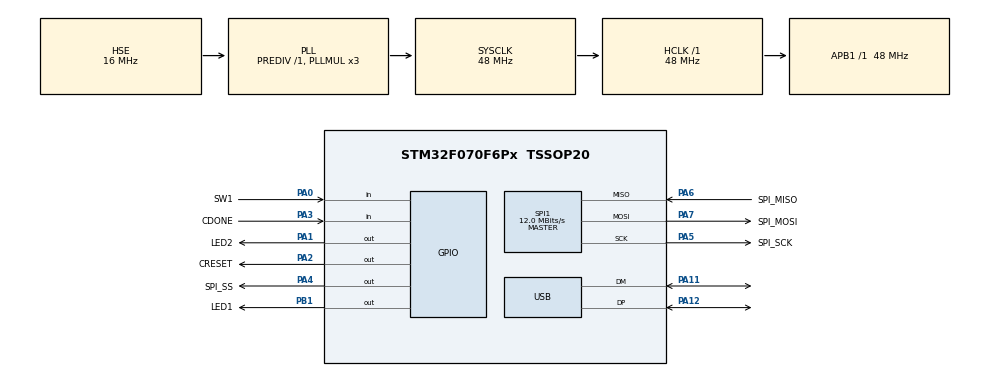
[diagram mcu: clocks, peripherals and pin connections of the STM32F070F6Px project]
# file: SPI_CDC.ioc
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Mcu.Family=STM32F0
Mcu.Name=STM32F070F6Px
Mcu.Package=TSSOP20
NVIC.USB_IRQn=true\:0\:0\:false\:false\:true
PA0.GPIO_Label=SW1
PA0.Signal=GPIO_Input
PA1.GPIO_Label=LED2
PA1.Signal=GPIO_Output
PA11.Mode=Device
PA11.Signal=USB_DM
PA12.Mode=Device
PA12.Signal=USB_DP
PA13.Mode=Serial_Wire
PA13.Signal=SYS_SWDIO
PA14.Mode=Serial_Wire
PA14.Signal=SYS_SWCLK
PA2.GPIO_Label=CRESET
PA2.Signal=GPIO_Output
PA3.GPIO_Label=CDONE
PA3.Signal=GPIO_Input
PA4.GPIO_Label=SPI_SS
PA4.Signal=GPIO_Output
PA5.GPIO_Label=SPI_SCK
PA5.Mode=Full_Duplex_Master
PA5.Signal=SPI1_SCK
PA6.GPIO_Label=SPI_MISO
PA6.Mode=Full_Duplex_Master
PA6.Signal=SPI1_MISO
PA7.GPIO_Label=SPI_MOSI
PA7.Mode=Full_Duplex_Master
PA7.Signal=SPI1_MOSI
PB1.GPIO_Label=LED1
PB1.Signal=GPIO_Output
PF0-OSC_IN.Mode=HSE-External-Oscillator
PF0-OSC_IN.Signal=RCC_OSC_IN
PF1-OSC_OUT.Mode=HSE-External-Oscillator
PF1-OSC_OUT.Signal=RCC_OSC_OUT
ProjectManager.HeapSize=0x300
ProjectManager.StackSize=0x500
ProjectManager.TargetToolchain=MDK-ARM V5
RCC.AHBFreq_Value=48000000
RCC.APB1Freq_Value=48000000
RCC.APB1TimFreq_Value=48000000
RCC.HCLKFreq_Value=48000000
RCC.HSE_VALUE=16000000
RCC.PLLMUL=RCC_PLL_MUL3
RCC.SYSCLKFreq_VALUE=48000000
RCC.SYSCLKSource=RCC_SYSCLKSOURCE_PLLCLK
SPI1.BaudRatePrescaler=SPI_BAUDRATEPRESCALER_4
SPI1.CLKPhase=SPI_PHASE_2EDGE
SPI1.CLKPolarity=SPI_POLARITY_HIGH
SPI1.CalculateBaudRate=12.0 MBits/s
SPI1.DataSize=SPI_DATASIZE_8BIT
SPI1.Direction=SPI_DIRECTION_2LINES
SPI1.Mode=SPI_MODE_MASTER
SPI1.VirtualType=VM_MASTER
USB_DEVICE.CLASS_NAME_FS=CDC
USB_DEVICE.MANUFACTURER_STRING=Riconec Inc.
USB_DEVICE.PRODUCT_STRING_CDC_FS=iCE5LP DKE CDC port
USB_DEVICE.VirtualMode=Cdc
USB_DEVICE.VirtualModeFS=Cdc_FS
VP_SYS_VS_PINREMAP.Mode=PINREMAP
VP_USB_DEVICE_VS_USB_DEVICE_CDC_FS.Mode=CDC_FS
board=SPI_CDC

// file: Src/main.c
/**
  ******************************************************************************
  * File Name          : main.c
  * Description        : Main program body
  ******************************************************************************
  * This notice applies to any and all portions of this file
  * that are not between comment pairs USER CODE BEGIN and
  * USER CODE END. Other portions of this file, whether
  * inserted by the user or by software development tools
  * are owned by their respective copyright owners.
  *
  * Copyright (c) 2017 STMicroelectronics International N.V.
  * All rights reserved.
  *
  * Redistribution and use in source and binary forms, with or without
  * modification, are permitted, provided that the following conditions are met:
  *
  * 1. Redistribution of source code must retain the above copyright notice,
  *    this list of conditions and the following disclaimer.
  * 2. Redistributions in binary form must reproduce the above copyright notice,
  *    this list of conditions and the following disclaimer in the documentation
  *    and/or other materials provided with the distribution.
  * 3. Neither the name of STMicroelectronics nor the names of other
  *    contributors to this software may be used to endorse or promote products
  *    derived from this software without specific written permission.
  * 4. This software, including modifications and/or derivative works of this
  *    software, must execute solely and exclusively on microcontroller or
  *    microprocessor devices manufactured by or for STMicroelectronics.
  * 5. Redistribution and use of this software other than as permitted under
  *    this license is void and will automatically terminate your rights under
  *    this license.
  *
  * THIS SOFTWARE IS PROVIDED BY STMICROELECTRONICS AND CONTRIBUTORS "AS IS"
  * AND ANY EXPRESS, IMPLIED OR STATUTORY WARRANTIES, INCLUDING, BUT NOT
  * LIMITED TO, THE IMPLIED WARRANTIES OF MERCHANTABILITY, FITNESS FOR A
  * PARTICULAR PURPOSE AND NON-INFRINGEMENT OF THIRD PARTY INTELLECTUAL PROPERTY
  * RIGHTS ARE DISCLAIMED TO THE FULLEST EXTENT PERMITTED BY LAW. IN NO EVENT
  * SHALL STMICROELECTRONICS OR CONTRIBUTORS BE LIABLE FOR ANY DIRECT, INDIRECT,
  * INCIDENTAL, SPECIAL, EXEMPLARY, OR CONSEQUENTIAL DAMAGES (INCLUDING, BUT NOT
  * LIMITED TO, PROCUREMENT OF SUBSTITUTE GOODS OR SERVICES; LOSS OF USE, DATA,
  * OR PROFITS; OR BUSINESS INTERRUPTION) HOWEVER CAUSED AND ON ANY THEORY OF
  * LIABILITY, WHETHER IN CONTRACT, STRICT LIABILITY, OR TORT (INCLUDING
  * NEGLIGENCE OR OTHERWISE) ARISING IN ANY WAY OUT OF THE USE OF THIS SOFTWARE,
  * EVEN IF ADVISED OF THE POSSIBILITY OF SUCH DAMAGE.
  *
  ******************************************************************************
  */
#include "main.h"
#include "stm32f0xx_hal.h"
#include "usb_device.h"

/* USER CODE BEGIN Includes */
#include "usbd_cdc_if.h"
#include "cdc_command_set.c"
#include "m25pxx_flash.h"
#include <inttypes.h>

#define BUFF_SIZE 40
#define MIN_COMMAND_LENGTH 11

	const char FLASH_WAKE_COMMAND[] = "RESL";
	const char FLASH_WAKE_RESPONSE[] = "FLSH:RESL:OK!;\r";

	const char FLASH_SLEEP_COMMAND[] = "DEPO";
	const char FLASH_SLEEP_RESPONSE[] = "FLSH:DEPO:OK!;\r";

	const char FLASH_WE_COMMAND[] = "WREN";
	const char FLASH_WE_RESPONSE[] = "FLSH:WREN:OK!;\r";

	const char FLASH_WD_COMMAND[] = "WRDI";
	const char FLASH_WD_RESPONSE[] = "FLSH:WRDI:OK!;\r";

	const char FLASH_BULK_COMMAND[] = "BUER";
	const char FLASH_BULK_RESPONSE[] = "FLSH:BUER:OK!;\r";

	const char FLASH_STAT_R_COMMAND[] = "RDSR";
	const char FLASH_STAT_R_RESPONSE[] = "FLSH:RDSR:0x%02x;\r";

	const char FLASH_STAT_W_COMMAND[] = "WRSR";
	const char FLASH_STAT_W_RESPONSE[] = "FLSH:WRSR:OK!;\r";

	const char FLASH_SERASE_COMMAND[] = "SEER";
	const char FLASH_SERASE_RESPONSE[] = "FLSH:SEER:OK!;\r";

	const char FLASH_PAGEA_COMMAND[] = "PPAR";
	const char FLASH_PAGEA_RESPONSE[] = "FLSH:PPAR:OK!;\r";

	const char FLASH_PAGEB_COMMAND[] = "PPBR";
	const char FLASH_PAGEB_RESPONSE[] = "FLSH:PPBR:OK!;\r";

	const char FLASH_PAGEC_COMMAND[] = "PPCO";
	const char FLASH_PAGEC_RESPONSE[] = "FLSH:PPCO:OK!;\r";

	const char FLASH_READ_COMMAND[] = "READ";
	const char FLASH_READ_RESPONSE[] = "FLSH:READ:0x%02x%02x%02x%02x%02x%02x%02x%02x%02x%02x%02x%02x%02x%02x%02x%02x;\r";

	const char FPGA_RST_COMMAND[] = "RSTN";
	const char FPGA_RST_RESPONSE[] = "FPGA:RSTN:OK!;\r";

	const char FPGA_SET_COMMAND[] = "FSET";
	const char FPGA_SET_RESPONSE[] = "FPGA:FSET:OK!;\r";

	const char FPGA_INIT_SLAVE_COMMAND[] = "COSL";
	const char FPGA_INIT_SLAVE_RESPONSE[] = "FPGA:COSL:OK!;\r";

	const char FPGA_CDONE_SLAVE_COMMAND[] = "CODO";
	const char FPGA_CDONE_SLAVE_RESPONSE[] = "FPGA:CODO:0x%02x;\r";

	const char FPGA_CONFIG_WRITE16_COMMAND[] = "COWR";
	const char FPGA_CONFIG_WRITE16_RESPONSE[] = "FPGA:COWR:OK!;\r";

	const char SOFT_IDEN_COMMAND[] = "IDEN";
	const char SOFT_IDEN_RESPONSE[] = "SOFT:IDEN:iCE5LP;\r";

	const char SOFT_VERS_COMMAND[] = "VERS";
	const char SOFT_VERS_RESPONSE[] = "SOFT:VERS:v1.1;\r";

	const char SSPI_DEINIT_COMMAND[] = "DEIN";
	const char SSPI_DEINIT_RESPONSE[] = "SSPI:DEIN:OK!;\r";

	const char SSPI_INIT_COMMAND[] = "INIT";
	const char SSPI_INIT_RESPONSE[] = "SSPI:INIT:OK!;\r";

	const char SSPI_WRITE_COMMAND[] = "WRBY";
	const char SSPI_WRITE_RESPONSE[] = "SSPI:WRBY:OK!;\r";

	const char SSPI_READ_COMMAND[] = "READ";
	const char SSPI_READ_RESPONSE[] = "SSPI:READ:0x%02x;\r";

	const char FLSH_SYSTEM[] = "FLSH";
	const char FPGA_SYSTEM[] = "FPGA";
	const char SSPI_SYSTEM[] = "SSPI";
	const char SOFT_SYSTEM[] = "SOFT";

/* USER CODE END Includes */

SPI_HandleTypeDef hspi1;

/* USER CODE BEGIN PV */
/* Private variables ---------------------------------------------------------*/
	char spi_rx_buf[BUFF_SIZE], spi_tx_buf[BUFF_SIZE];
	char cdc_rx_buf[64];
	uint8_t command_received = 0;
	char data_buf[64] = "";
	unsigned int int_temp = 255;
	unsigned int address_page = 0;
	char system_str[5] = "";
	char command_str[5] = "";
	char argument_str[40] = "";

/* USER CODE END PV */

void SystemClock_Config(void);
static void MX_GPIO_Init(void);
static void MX_SPI1_Init(void);

/* USER CODE BEGIN PFP */
/* Private function prototypes -----------------------------------------------*/

/* USER CODE END PFP */

/* USER CODE BEGIN 0 */

void ParseCDCCommand(void){
		//------------------------------------------------------------------------
		// Commands in format SYSTEM:COMMAND;
		//------------------------------------------------------------------------
	if(strlen(cdc_rx_buf) == MIN_COMMAND_LENGTH){
		sscanf(cdc_rx_buf, "%4s:%4s;\r", system_str, command_str);
		if(strcmp(system_str, FLSH_SYSTEM) == 0){
			if(strcmp(command_str, FLASH_WAKE_COMMAND) == 0){
				M25Pxx_Wake();
				CDC_Transmit_FS((uint8_t*)FLASH_WAKE_RESPONSE, strlen(FLASH_WAKE_RESPONSE));
			}
			else if(strcmp(command_str, FLASH_SLEEP_COMMAND) == 0){
				M25Pxx_Sleep();
				CDC_Transmit_FS((uint8_t*)FLASH_SLEEP_RESPONSE, strlen(FLASH_SLEEP_RESPONSE));
			}
			else if(strcmp(command_str, FLASH_WE_COMMAND) == 0){
				M25Pxx_Write_Enable();
				CDC_Transmit_FS((uint8_t*)FLASH_WE_RESPONSE, strlen(FLASH_WE_RESPONSE));
			}
			else if(strcmp(command_str, FLASH_WD_COMMAND) == 0){
				M25Pxx_Write_Disable();
				CDC_Transmit_FS((uint8_t*)FLASH_WD_RESPONSE, strlen(FLASH_WD_RESPONSE));
			}
			else if(strcmp(command_str, FLASH_STAT_R_COMMAND) == 0){
				int_temp = M25Pxx_Read_Status();
				sprintf(data_buf, FLASH_STAT_R_RESPONSE, int_temp);
				CDC_Transmit_FS((uint8_t*)data_buf, strlen(data_buf));
			}
			else if(strcmp(command_str, FLASH_BULK_COMMAND) == 0){
				M25Pxx_Bulk_Erase();
				CDC_Transmit_FS((uint8_t*)FLASH_BULK_RESPONSE, strlen(FLASH_BULK_RESPONSE));
			}
			else if(strcmp(command_str, FLASH_PAGEC_COMMAND) == 0){
				M25Pxx_Page_Commit();
				CDC_Transmit_FS((uint8_t*)FLASH_PAGEC_RESPONSE, strlen(FLASH_PAGEC_RESPONSE));
			}
			else {
				//unknown command received
				CDC_Transmit_FS((uint8_t*)"FLSH:EROR;\r", strlen("FLSH:EROR;\r"));
			}
		}
		else if(strcmp(system_str, FPGA_SYSTEM) == 0){
			if(strcmp(command_str, FPGA_RST_COMMAND) == 0){
				//HAL_SPI_Init(&hspi1);
				//HAL_GPIO_DeInit(SPI_SS_GPIO_Port, SPI_SS_Pin);
				HAL_GPIO_WritePin(CRESET_GPIO_Port, CRESET_Pin, GPIO_PIN_RESET);
				CDC_Transmit_FS((uint8_t*)FPGA_RST_RESPONSE, strlen(FPGA_RST_RESPONSE));
			}
			else if(strcmp(command_str, FPGA_SET_COMMAND) == 0){
				//HAL_SPI_DeInit(&hspi1);
				//HAL_GPIO_DeInit(SPI_SS_GPIO_Port, SPI_SS_Pin);
				HAL_GPIO_WritePin(CRESET_GPIO_Port, CRESET_Pin, GPIO_PIN_SET);
				CDC_Transmit_FS((uint8_t*)FPGA_SET_RESPONSE, strlen(FPGA_SET_RESPONSE));
			}
			else if (strcmp(command_str, FPGA_INIT_SLAVE_COMMAND) == 0){
				HAL_GPIO_WritePin(CRESET_GPIO_Port, CRESET_Pin, GPIO_PIN_RESET);
				HAL_GPIO_WritePin(SPI_SS_GPIO_Port, SPI_SS_Pin, GPIO_PIN_RESET);
				HAL_Delay(2);
				HAL_GPIO_WritePin(CRESET_GPIO_Port, CRESET_Pin, GPIO_PIN_SET);
				HAL_Delay(2);
				CDC_Transmit_FS((uint8_t*)FPGA_INIT_SLAVE_RESPONSE, strlen(FPGA_INIT_SLAVE_RESPONSE));
				//MISO can be checked to see if housekeeping done
			}
			else if (strcmp(command_str, FPGA_CDONE_SLAVE_COMMAND) == 0){
				if(HAL_GPIO_ReadPin(CDONE_GPIO_Port, CDONE_Pin) == GPIO_PIN_SET){
					int_temp = 1;
				}
				else{
					int_temp = 0;
				}
				HAL_GPIO_WritePin(CRESET_GPIO_Port, CRESET_Pin, GPIO_PIN_SET);
				HAL_GPIO_WritePin(SPI_SS_GPIO_Port, SPI_SS_Pin, GPIO_PIN_SET);
				sprintf(data_buf, FPGA_CDONE_SLAVE_RESPONSE, int_temp);
				CDC_Transmit_FS((uint8_t*)data_buf, strlen(data_buf));
			}
			else {
				CDC_Transmit_FS((uint8_t*)"FPGA:EROR;\r", strlen("FPGA:EROR;\r"));
			}
		}
		else if(strcmp(system_str, SSPI_SYSTEM) == 0){
			if(strcmp(command_str, SSPI_DEINIT_COMMAND) == 0){
				HAL_SPI_DeInit(&hspi1);
				CDC_Transmit_FS((uint8_t*)SSPI_DEINIT_RESPONSE, strlen(SSPI_DEINIT_RESPONSE));
			}
			if(strcmp(command_str, SSPI_INIT_COMMAND) == 0){
				HAL_SPI_Init(&hspi1);
				CDC_Transmit_FS((uint8_t*)SSPI_INIT_RESPONSE, strlen(SSPI_INIT_RESPONSE));
			}
			CDC_Transmit_FS((uint8_t*)"SSPI:EROR;\r", strlen("SSPI:EROR;\r"));
		}
		else if(strcmp(system_str, SOFT_SYSTEM) == 0){
			if(strcmp(command_str, SOFT_IDEN_COMMAND) == 0){
				CDC_Transmit_FS((uint8_t*)SOFT_IDEN_RESPONSE, strlen(SOFT_IDEN_RESPONSE));
			}
			else if(strcmp(command_str, SOFT_VERS_COMMAND) == 0){
				CDC_Transmit_FS((uint8_t*)SOFT_VERS_RESPONSE, strlen(SOFT_VERS_RESPONSE));
			}
			//error case
			else {
				CDC_Transmit_FS((uint8_t*)"SOFT:EROR;\r", strlen("SOFT:EROR;\r"));
			}
		}
	}
		//------------------------------------------------------------------------
		// Commands in format SYSTEM:COMMAND:ARGUMENT;
		//------------------------------------------------------------------------
	else if(strlen(cdc_rx_buf) >= MIN_COMMAND_LENGTH){
		sscanf(cdc_rx_buf, "%4s:%4s:%s;\r", system_str, command_str, argument_str);
		if(strcmp(system_str, FLSH_SYSTEM) == 0){
			if(strcmp(command_str, FLASH_STAT_W_COMMAND) == 0){
				sscanf(argument_str, "0x%02x;", &int_temp);
				M25Pxx_Write_Status(int_temp);
				CDC_Transmit_FS((uint8_t*)FLASH_STAT_W_RESPONSE, strlen(FLASH_STAT_W_RESPONSE));
			}
			else if(strcmp(command_str, FLASH_SERASE_COMMAND) == 0){
				sscanf(argument_str, "0x%06x;", &int_temp);
				M25Pxx_Sector_Erase(int_temp);
				CDC_Transmit_FS((uint8_t*)FLASH_SERASE_RESPONSE, strlen(FLASH_SERASE_RESPONSE));
			}
			else if(strcmp(command_str, FLASH_PAGEA_COMMAND) == 0){
				sscanf(argument_str, "0x%06x;", &int_temp);
				M25Pxx_Page_Init(int_temp);
				CDC_Transmit_FS((uint8_t*)FLASH_PAGEA_RESPONSE, strlen(FLASH_PAGEA_RESPONSE));
			}
			else if(strcmp(command_str, FLASH_READ_COMMAND) == 0){
				sscanf(argument_str, "0x%06x;", &int_temp);
				M25Pxx_Read(int_temp, 16);
				sprintf(data_buf, FLASH_READ_RESPONSE, spi_rx_buf[4],spi_rx_buf[5],spi_rx_buf[6],spi_rx_buf[7],spi_rx_buf[8],spi_rx_buf[9],
				spi_rx_buf[10],spi_rx_buf[11],spi_rx_buf[12],spi_rx_buf[13],spi_rx_buf[14],spi_rx_buf[15],spi_rx_buf[16],spi_rx_buf[17],spi_rx_buf[18],spi_rx_buf[19]); //"FLSH:READ:0x%02%02x%02x%02x%02x%02x%02x%02x%02x%02x%02x%02x%02x%02x%02x%02x\r\n";
				CDC_Transmit_FS((uint8_t*)data_buf, strlen(data_buf));
			}
			else if(strcmp(command_str, FLASH_PAGEB_COMMAND) == 0){
				sscanf(argument_str, "0x%02hhx%02hhx%02hhx%02hhx%02hhx%02hhx%02hhx%02hhx%02hhx%02hhx%02hhx%02hhx%02hhx%02hhx%02hhx%02hhx;", &spi_tx_buf[0],&spi_tx_buf[1],&spi_tx_buf[2],&spi_tx_buf[3],&spi_tx_buf[4],
				&spi_tx_buf[5],&spi_tx_buf[6],&spi_tx_buf[7],&spi_tx_buf[8],&spi_tx_buf[9],&spi_tx_buf[10],&spi_tx_buf[11],&spi_tx_buf[12],&spi_tx_buf[13],&spi_tx_buf[14],&spi_tx_buf[15]);
				M25Pxx_Page_Prog(16);
				CDC_Transmit_FS((uint8_t*)FLASH_PAGEB_RESPONSE, strlen(FLASH_PAGEB_RESPONSE));
			}
			else {
				CDC_Transmit_FS((uint8_t*)"FLSH:EROR;\r", strlen("FLSH:EROR;\r"));
			}
		}
		else if(strcmp(system_str, FPGA_SYSTEM) == 0){
			if (strcmp(command_str, FPGA_CONFIG_WRITE16_COMMAND) == 0){
				int_temp = sscanf(argument_str, "0x%02hhx%02hhx%02hhx%02hhx%02hhx%02hhx%02hhx%02hhx%02hhx%02hhx%02hhx%02hhx%02hhx%02hhx%02hhx%02hhx;", &spi_tx_buf[0],&spi_tx_buf[1],&spi_tx_buf[2],&spi_tx_buf[3],&spi_tx_buf[4],
				&spi_tx_buf[5],&spi_tx_buf[6],&spi_tx_buf[7],&spi_tx_buf[8],&spi_tx_buf[9],&spi_tx_buf[10],&spi_tx_buf[11],&spi_tx_buf[12],&spi_tx_buf[13],&spi_tx_buf[14],&spi_tx_buf[15]);
				//SPI_FLASH_PAGE_PROG(16);
				M25Pxx_Page_Prog(16); // check here (use spi command, not this one)
				CDC_Transmit_FS((uint8_t*)FPGA_CONFIG_WRITE16_RESPONSE, strlen(FPGA_CONFIG_WRITE16_RESPONSE));
			}
			else {
				CDC_Transmit_FS((uint8_t*)"FPGA:EROR;\r", strlen("FPGA:EROR;\r"));
			}
		}
		else if(strcmp(system_str, SSPI_SYSTEM) == 0){
			if(strcmp(command_str, SSPI_WRITE_COMMAND) == 0){
				sscanf(argument_str, "0x%02x;", &int_temp);
				HAL_GPIO_WritePin(SPI_SS_GPIO_Port, SPI_SS_Pin, GPIO_PIN_RESET);
				HAL_SPI_Transmit(&hspi1, (uint8_t*) spi_tx_buf, 1, 1000);
				HAL_GPIO_WritePin(SPI_SS_GPIO_Port, SPI_SS_Pin, GPIO_PIN_SET);
				CDC_Transmit_FS((uint8_t*) SSPI_WRITE_RESPONSE, strlen(SSPI_WRITE_RESPONSE));
			}
			else if(strcmp(command_str, SSPI_READ_COMMAND) == 0){
				sscanf(argument_str, "0x%02x;", &int_temp);
				spi_tx_buf[0] = int_temp;
				spi_tx_buf[1] = 0;
				HAL_GPIO_WritePin(SPI_SS_GPIO_Port, SPI_SS_Pin, GPIO_PIN_RESET);
				HAL_SPI_TransmitReceive(&hspi1, (uint8_t*) spi_tx_buf,(uint8_t*)spi_rx_buf, 2, 1000);
				HAL_GPIO_WritePin(SPI_SS_GPIO_Port, SPI_SS_Pin, GPIO_PIN_SET);
				int_temp = spi_rx_buf[1];
				sprintf(data_buf, SSPI_READ_RESPONSE, int_temp);
				CDC_Transmit_FS((uint8_t*)data_buf, strlen(data_buf));
			}
			CDC_Transmit_FS((uint8_t*)"SSPI:EROR;\r", strlen("SSPI:EROR;\r"));
		}

		else if(strcmp(system_str, SOFT_SYSTEM) == 0){
			CDC_Transmit_FS((uint8_t*)"SOFT:EROR;\r", strlen("SOFT:EROR;\r"));
		}

	}
	else {
		CDC_Transmit_FS((uint8_t*)"CMND:EROR;\r", strlen("CMND:EROR;\r"));
	}
	memset(command_str, 0, 5);
	memset(system_str, 0, 5);
	memset(argument_str, 0, 40);
	memset(cdc_rx_buf, 0, 64);
	command_received = 0;
}

/* USER CODE END 0 */

int main(void)
{

  /* MCU Configuration----------------------------------------------------------*/

  /* Reset of all peripherals, Initializes the Flash interface and the Systick. */
  HAL_Init();

  /* Configure the system clock */
  SystemClock_Config();

  /* Initialize all configured peripherals */
  MX_GPIO_Init();
  MX_USB_DEVICE_Init();
  MX_SPI1_Init();

  /* USER CODE BEGIN 2 */

	//FPGA SAFETY
	HAL_GPIO_WritePin(CRESET_GPIO_Port, CRESET_Pin, GPIO_PIN_RESET); // set active reset for FPGA

  /* USER CODE END 2 */

  /* Infinite loop */
  while (1)
  {

  /* USER CODE BEGIN 3 */
		if(command_received == 1){
			ParseCDCCommand();
		}
		HAL_GPIO_WritePin(LED1_GPIO_Port, LED1_Pin, HAL_GPIO_ReadPin(CDONE_GPIO_Port, CDONE_Pin));
	}
  /* USER CODE END 3 */
}

/** System Clock Configuration
*/
void SystemClock_Config(void)
{

  RCC_OscInitTypeDef RCC_OscInitStruct;
  RCC_ClkInitTypeDef RCC_ClkInitStruct;
  RCC_PeriphCLKInitTypeDef PeriphClkInit;

    /**Initializes the CPU, AHB and APB busses clocks
    */
  RCC_OscInitStruct.OscillatorType = RCC_OSCILLATORTYPE_HSE;
  RCC_OscInitStruct.HSEState = RCC_HSE_ON;
  RCC_OscInitStruct.HSIState = RCC_HSI_ON;
  RCC_OscInitStruct.PLL.PLLState = RCC_PLL_ON;
  RCC_OscInitStruct.PLL.PLLSource = RCC_PLLSOURCE_HSE;
  RCC_OscInitStruct.PLL.PLLMUL = RCC_PLL_MUL3;
  RCC_OscInitStruct.PLL.PREDIV = RCC_PREDIV_DIV1;
  if (HAL_RCC_OscConfig(&RCC_OscInitStruct) != HAL_OK)
  {
    _Error_Handler(__FILE__, __LINE__);
  }

    /**Initializes the CPU, AHB and APB busses clocks
    */
  RCC_ClkInitStruct.ClockType = RCC_CLOCKTYPE_HCLK|RCC_CLOCKTYPE_SYSCLK
                              |RCC_CLOCKTYPE_PCLK1;
  RCC_ClkInitStruct.SYSCLKSource = RCC_SYSCLKSOURCE_PLLCLK;
  RCC_ClkInitStruct.AHBCLKDivider = RCC_SYSCLK_DIV1;
  RCC_ClkInitStruct.APB1CLKDivider = RCC_HCLK_DIV1;

  if (HAL_RCC_ClockConfig(&RCC_ClkInitStruct, FLASH_LATENCY_1) != HAL_OK)
  {
    _Error_Handler(__FILE__, __LINE__);
  }

  PeriphClkInit.PeriphClockSelection = RCC_PERIPHCLK_USB;
  PeriphClkInit.UsbClockSelection = RCC_USBCLKSOURCE_PLL;

  if (HAL_RCCEx_PeriphCLKConfig(&PeriphClkInit) != HAL_OK)
  {
    _Error_Handler(__FILE__, __LINE__);
  }

    /**Configure the Systick interrupt time
    */
  HAL_SYSTICK_Config(HAL_RCC_GetHCLKFreq()/1000);

    /**Configure the Systick
    */
  HAL_SYSTICK_CLKSourceConfig(SYSTICK_CLKSOURCE_HCLK);

  /* SysTick_IRQn interrupt configuration */
  HAL_NVIC_SetPriority(SysTick_IRQn, 0, 0);
}

/* SPI1 init function */
static void MX_SPI1_Init(void)
{

  hspi1.Instance = SPI1;
  hspi1.Init.Mode = SPI_MODE_MASTER;
  hspi1.Init.Direction = SPI_DIRECTION_2LINES;
  hspi1.Init.DataSize = SPI_DATASIZE_8BIT;
  hspi1.Init.CLKPolarity = SPI_POLARITY_HIGH;
  hspi1.Init.CLKPhase = SPI_PHASE_2EDGE;
  hspi1.Init.NSS = SPI_NSS_SOFT;
  hspi1.Init.BaudRatePrescaler = SPI_BAUDRATEPRESCALER_4;
  hspi1.Init.FirstBit = SPI_FIRSTBIT_MSB;
  hspi1.Init.TIMode = SPI_TIMODE_DISABLE;
  hspi1.Init.CRCCalculation = SPI_CRCCALCULATION_DISABLE;
  hspi1.Init.CRCPolynomial = 7;
  hspi1.Init.CRCLength = SPI_CRC_LENGTH_DATASIZE;
  hspi1.Init.NSSPMode = SPI_NSS_PULSE_DISABLE;
  if (HAL_SPI_Init(&hspi1) != HAL_OK)
  {
    _Error_Handler(__FILE__, __LINE__);
  }

}

/** Configure pins as
        * Analog
        * Input
        * Output
        * EVENT_OUT
        * EXTI
*/
static void MX_GPIO_Init(void)
{

  GPIO_InitTypeDef GPIO_InitStruct;

  /* GPIO Ports Clock Enable */
  __HAL_RCC_GPIOF_CLK_ENABLE();
  __HAL_RCC_GPIOA_CLK_ENABLE();
  __HAL_RCC_GPIOB_CLK_ENABLE();

  /*Configure GPIO pin Output Level */
  HAL_GPIO_WritePin(GPIOA, LED2_Pin|CRESET_Pin|SPI_SS_Pin, GPIO_PIN_RESET);

  /*Configure GPIO pin Output Level */
  HAL_GPIO_WritePin(LED1_GPIO_Port, LED1_Pin, GPIO_PIN_RESET);

  /*Configure GPIO pins : SW1_Pin CDONE_Pin */
  GPIO_InitStruct.Pin = SW1_Pin|CDONE_Pin;
  GPIO_InitStruct.Mode = GPIO_MODE_INPUT;
  GPIO_InitStruct.Pull = GPIO_NOPULL;
  HAL_GPIO_Init(GPIOA, &GPIO_InitStruct);

  /*Configure GPIO pins : LED2_Pin CRESET_Pin SPI_SS_Pin */
  GPIO_InitStruct.Pin = LED2_Pin|CRESET_Pin|SPI_SS_Pin;
  GPIO_InitStruct.Mode = GPIO_MODE_OUTPUT_PP;
  GPIO_InitStruct.Pull = GPIO_NOPULL;
  GPIO_InitStruct.Speed = GPIO_SPEED_FREQ_LOW;
  HAL_GPIO_Init(GPIOA, &GPIO_InitStruct);

  /*Configure GPIO pin : LED1_Pin */
  GPIO_InitStruct.Pin = LED1_Pin;
  GPIO_InitStruct.Mode = GPIO_MODE_OUTPUT_PP;
  GPIO_InitStruct.Pull = GPIO_NOPULL;
  GPIO_InitStruct.Speed = GPIO_SPEED_FREQ_LOW;
  HAL_GPIO_Init(LED1_GPIO_Port, &GPIO_InitStruct);

}

void _Error_Handler(char * file, int line)
{
  while(1)
  {
  }
}

/************************ (C) COPYRIGHT STMicroelectronics *****END OF FILE****/
